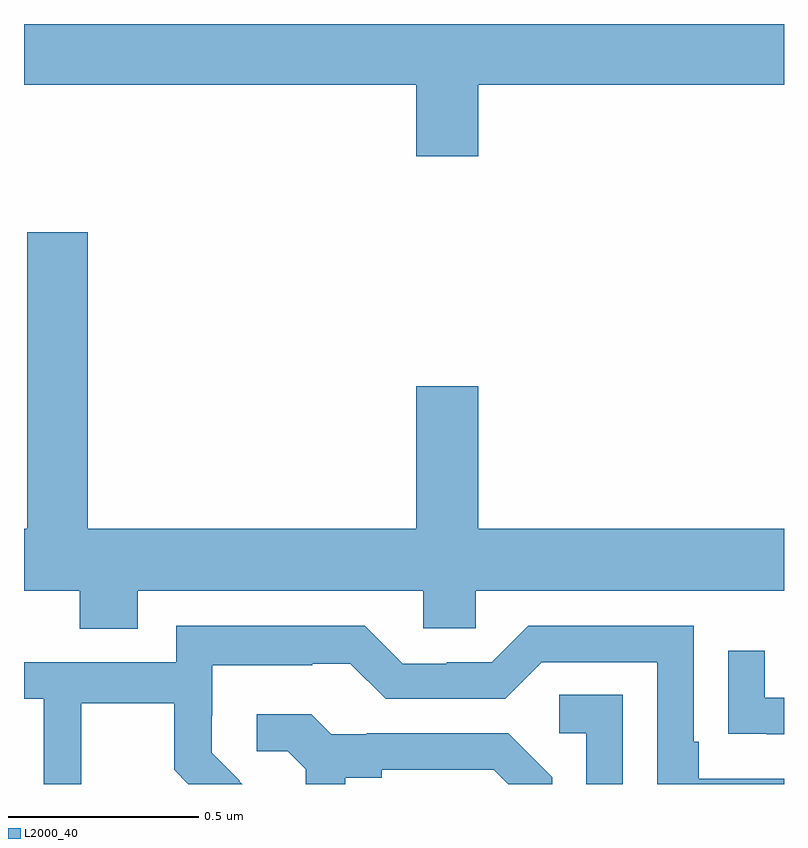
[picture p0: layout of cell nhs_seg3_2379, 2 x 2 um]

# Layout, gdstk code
import gdstk
lib = gdstk.Library(unit=1e-6, precision=1e-09)
def P(c, l, *ps):  # polygons
    for p in ps: c.add(gdstk.Polygon(p, *l))
L2000_40 = (2000, 40)

nhs_seg3_2379 = lib.new_cell('nhs_seg3_2379')
P(nhs_seg3_2379, L2000_40, [(141.196,710.24),(142,710.24),(142,710.4),(140,710.4),(140,710.24),(141.032,710.24),(141.032,710.052),(141.196,710.052)],
  [(140.299,708.908),(141.051,708.908),(141.051,708.81),(141.189,708.81),(141.189,708.908),(142,708.908),(142,709.072),(141.196,709.072),(141.196,709.447),(141.032,709.447),(141.032,709.072),(140.168,709.072),(140.168,709.852),(140.008,709.852),(140.008,709.072),(140,709.072),(140,708.908),(140.147,708.908),(140.147,708.809),(140.299,708.809)],
  [(140.151,708.612),(140.395,708.612),(140.395,708.437),(140.432,708.4),(140.574,708.4),(140.567,708.407),(140.568,708.408),(140.494,708.482),(140.494,708.579),(140.496,708.579),(140.496,708.713),(140.759,708.713),(140.759,708.717),(140.859,708.717),(140.952,708.624),(141.267,708.624),(141.363,708.72),(141.666,708.72),(141.666,708.4),(142,708.4),(142,708.414),(141.775,708.414),(141.775,708.511),(141.762,708.511),(141.762,708.816),(141.327,708.816),(141.231,708.72),(141.113,708.72),(141.113,708.717),(140.997,708.717),(140.897,708.817),(140.4,708.817),(140.4,708.72),(140,708.72),(140,708.624),(140.052,708.624),(140.052,708.4),(140.151,708.4)],
  [(142,708.627),(141.949,708.627),(141.949,708.751),(141.853,708.751),(141.853,708.532),(141.955,708.532),(141.955,708.531),(142,708.531)],
  [(141.576,708.635),(141.408,708.635),(141.408,708.534),(141.48,708.534),(141.48,708.4),(141.576,708.4)],
  [(140.845,708.416),(140.941,708.416),(140.941,708.438),(141.236,708.438),(141.274,708.4),(141.39,708.4),(141.39,708.418),(141.274,708.534),(140.902,708.534),(140.902,708.531),(140.808,708.531),(140.756,708.583),(140.613,708.583),(140.613,708.486),(140.694,708.486),(140.741,708.439),(140.741,708.4),(140.845,708.4)])

lib.write_gds('nhs_seg3_2379.gds')
